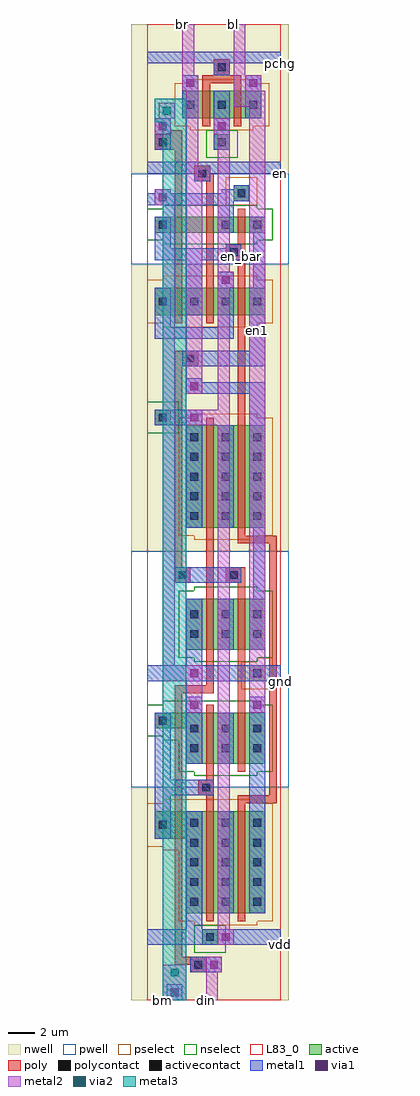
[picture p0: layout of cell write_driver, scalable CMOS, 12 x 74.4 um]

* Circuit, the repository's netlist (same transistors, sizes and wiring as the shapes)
.SUBCKT write_driver din bm bl br en pchg vdd gnd
M1 din_bar din gnd gnd n w=1.2u l=0.6u
M2 din_bar din vdd vdd p w=2.1u l=0.6u
M3 en_bar bm net_5 gnd n w=1.2u l=0.6u 
M4 net_5 en gnd gnd n w=1.2u l=0.6u
M5 en_bar bm vdd vdd p w=2.1u l=0.6u 
M6 en_bar en vdd vdd p w=2.1u l=0.6u
M7 en1 en_bar gnd gnd n w=1.2u l=0.6u 
M8 en1 en_bar vdd vdd p w=2.1u l=0.6u 
M9 vdd din net_1 vdd p w=7.8u l=0.6u 
M10 net_1 en_bar br vdd p w=7.8u l=0.6u  
M11 br en1 net_2 gnd n w=3.9u l=0.6u 
M12 net_2 din gnd gnd n w=3.9u l=0.6u 
M13 vdd din_bar net_3 vdd p w=7.8u l=0.6u
M14 net_3 en_bar bl vdd p w=7.8u l=0.6u  
M15 bl en1 net_4 gnd n w=3.9u l=0.6u
M16 net_4 din_bar gnd gnd n w=3.9u l=0.6u 
M17 bl pchg vdd vdd p w=2.1u l=0.6u
M18 br pchg vdd vdd p w=2.1u l=0.6u 
.ENDS	write_driver

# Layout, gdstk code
import gdstk
lib = gdstk.Library(unit=1e-6, precision=1e-09)
def R(c, l, rs):  # rectangles x0, y0, x1, y1
    for r in rs: c.add(gdstk.rectangle(r[:2], r[2:], *l))
def A(c, l, x, y, w, h, nx, ny, dx, dy):  # array of equal rectangles
    R(c, l, [(x+i*dx, y+j*dy, x+i*dx+w, y+j*dy+h) for i in range(nx) for j in range(ny)])
pwell = (41, 0)
nwell = (42, 0)
active = (43, 0)
pselect = (44, 0)
nselect = (45, 0)
poly = (46, 0)
polycontact = (47, 0)
activecontact = (48, 0)
metal1 = (49, 0)
via1 = (50, 0)
metal2 = (51, 0)
via2 = (61, 0)
metal3 = (62, 0)
L83_0 = (83, 0)

write_driver = lib.new_cell('write_driver')
R(write_driver, pwell, [(-1.2,16.2,10.8,34.2), (-1.2,56.1,10.8,63)])
R(write_driver, nwell, [(-1.2,0,10.8,16.2), (-1.2,34.2,10.8,56.1), (-1.2,63,10.8,74.4)])
R(write_driver, active, [(4.2,4.2,5.4,5.4), (3,6.6,9,12.3), (0.6,12.3,9,14.4), (3,18,9,20.7), (0.6,20.7,9,21.9), (7.8,24.3,9,25.5), (3,26.7,9,30.6), (3,36,9,43.8), (0.6,43.8,1.8,45), (0.6,52.2,9,54.3), (0.6,58.5,9,59.7), (6.6,60.9,7.8,62.1), (5.1,64.8,6.3,66), (2.7,67.2,8.7,69.3)])
R(write_driver, pselect, [(3.6,5.7,8.4,6), (2.4,6,9.6,11.4), (1.2,11.4,9.6,11.7), (0,11.7,9.6,15), (1.2,15,8.4,15.3), (7.2,23.7,9.6,25.8), (8.4,25.8,9.6,26.1), (3.6,35.1,8.4,35.4), (2.4,35.4,9.6,44.4), (3.6,44.4,8.4,44.7), (1.2,51.3,8.4,51.6), (0,51.6,9.6,54.9), (1.2,54.9,8.4,55.2), (6,60.6,8.4,62.7), (3.3,66.3,8.1,66.6), (2.1,66.6,9.3,69.9), (3.3,69.9,8.1,70.2)])
R(write_driver, nselect, [(3.6,3.6,6,5.7), (3.6,17.1,8.4,17.4), (2.4,17.4,9.6,19.8), (1.2,19.8,9.6,20.1), (0,20.1,9.6,22.5), (1.2,22.5,8.4,22.8), (3.6,25.8,8.4,26.1), (2.4,26.1,9.6,31.2), (3.6,31.2,8.4,31.5), (0,43.2,2.4,45.6), (1.2,57.6,8.4,57.9), (0,57.9,9.6,60.3), (1.2,60.3,8.4,60.6), (4.5,64.2,6.9,66.3)])
R(write_driver, poly, [(3.3,2.1,4.5,2.7), (2.1,2.7,4.5,3.3), (2.1,3.3,2.7,23.4), (4.5,6,5.1,15.6), (6.9,6,7.5,15), (6.9,15,9.9,15.6), (3.9,15.6,5.1,16.8), (9.3,15.6,9.9,34.8), (4.5,16.8,5.1,22.5), (6.9,17.4,7.5,31.8), (2.1,23.4,5.1,24), (4.5,24,5.1,44.4), (2.1,31.8,3.3,33), (6,31.8,7.5,33), (2.1,33,2.7,48.3), (6.9,34.8,9.9,35.4), (6.9,35.4,7.5,56.4), (2.1,48.3,3.9,49.5), (2.1,51.6,2.7,64.8), (4.5,51.6,5.1,62.4), (6,56.4,7.5,57.6), (6.9,57.6,7.5,60.3), (3.6,62.4,5.1,63), (3.6,63,4.8,63.6), (0.6,64.8,2.7,66), (1.8,66,2.7,66.3), (4.2,66.6,4.8,69.9), (6.6,66.6,7.2,69.9), (4.2,69.9,7.2,70.5), (5.1,70.5,6.3,71.7)])
R(write_driver, polycontact, [(3.6,2.4,4.2,3), (4.2,15.9,4.8,16.5), (2.4,32.1,3,32.7), (6.3,32.1,6.9,32.7), (3,48.6,3.6,49.2), (6.3,56.7,6.9,57.3), (3.9,62.7,4.5,63.3), (0.9,65.1,1.5,65.7), (5.4,70.8,6,71.4)])
A(write_driver, activecontact, 3.3, 7.2, 0.6, 0.6, 3, 5, 2.4, 1.5)
A(write_driver, activecontact, 3.3, 18.9, 0.6, 0.6, 3, 2, 2.4, 1.5)
A(write_driver, activecontact, 3.3, 27.6, 0.6, 0.6, 3, 2, 2.4, 1.5)
A(write_driver, activecontact, 3.3, 36.6, 0.6, 0.6, 3, 5, 2.4, 1.5)
A(write_driver, activecontact, 0.9, 52.95, 0.6, 0.6, 4, 1, 2.4, 0)
A(write_driver, activecontact, 3, 67.95, 0.6, 0.6, 3, 1, 2.4, 0)
R(write_driver, activecontact, [(4.5,4.5,5.1,5.1), (0.9,13.05,1.5,13.65), (0.9,21,1.5,21.6), (8.1,24.6,8.7,25.2), (0.9,44.1,1.5,44.7), (0.9,58.8,1.5,59.4), (5.7,58.8,6.3,59.4), (8.1,58.8,8.7,59.4), (6.9,61.2,7.5,61.8), (5.4,65.1,6,65.7)])
R(write_driver, metal1, [(1.5,0,2.7,1.2), (3.3,2.1,5.7,3.3), (0,4.2,10.2,5.4), (3,5.4,4.2,14.4), (5.4,6.6,6.6,14.4), (7.8,6.6,9,23.1), (0.6,12.3,1.8,15.6), (0.6,15.6,5.1,16.8), (0.6,16.8,1.8,21.9), (3,18,4.2,23.1), (5.4,18,6.6,21.9), (0,24.3,10.2,25.5), (3,25.5,4.2,30.6), (5.4,26.7,6.6,30.6), (7.8,26.7,9,30.6), (8.1,30.6,9,36), (2.1,31.8,7.2,33), (3,36,4.2,43.8), (5.4,36,6.6,43.8), (7.8,36,9,46.2), (0.6,43.8,4.2,45), (3,46.2,9,47.1), (3,47.1,4.2,47.4), (2.7,48.3,9,49.5), (7.8,49.5,9,54.3), (0.6,50.4,6.6,51.3), (0.6,51.3,1.8,54.3), (5.4,51.3,6.6,55.5), (3,52.2,4.2,56.4), (8.1,54.3,9,58.5), (0.6,56.4,7.2,57.3), (0.6,57.3,1.8,59.7), (6,57.3,7.2,57.6), (5.4,58.5,6.6,60.6), (7.8,58.5,9,59.7), (0,60.6,6.6,60.9), (0,60.9,7.8,61.5), (0.6,61.5,1.8,61.8), (5.7,61.5,7.8,61.8), (6.6,61.8,7.8,62.1), (3.6,62.4,4.8,63), (0,63,10.2,63.9), (0.6,64.8,1.8,67.2), (5.1,64.8,6.3,69.3), (2.7,67.2,3.9,70.5), (7.5,67.2,8.7,70.5), (5.1,70.5,6.3,71.4), (0,71.4,10.2,72.3)])
R(write_driver, via1, [(1.8,0.3,2.4,0.9), (4.8,2.4,5.4,3), (5.7,4.5,6.3,5.1), (3.3,22.2,3.9,22.8), (8.1,22.2,8.7,22.8), (3.3,24.6,3.9,25.2), (3.3,44.1,3.9,44.7), (3.3,46.5,3.9,47.1), (5.7,54.6,6.3,55.2), (0.9,60.9,1.5,61.5), (0.9,66.3,1.5,66.9), (5.4,66.3,6,66.9), (3,69.6,3.6,70.2), (7.8,69.6,8.4,70.2)])
R(write_driver, metal2, [(1.2,0,3,2.7), (4.5,0,5.4,2.1), (4.5,2.1,5.7,3.3), (5.4,4.2,6.6,5.4), (5.4,5.4,6.3,43.8), (3,21.9,4.2,24.3), (7.8,21.9,9,68.1), (1.2,24.3,4.2,25.5), (1.2,25.5,2.1,60.6), (3,43.8,6.3,45), (5.4,45,6.3,54.3), (3,46.2,4.2,63.3), (5.4,54.3,6.6,55.5), (5.4,55.5,6.3,66), (0.6,60.6,2.1,61.5), (0.6,61.5,1.8,61.8), (3,63.3,3.9,69.3), (0.6,66,1.8,67.2), (5.1,66,6.3,67.2), (0.9,67.2,2.1,68.4), (6.6,68.1,9,69.3), (2.7,69.3,3.9,70.5), (6.6,69.3,8.7,70.5), (2.7,70.5,3.6,74.4), (6.6,70.5,7.5,74.4)])
R(write_driver, via2, [(1.8,1.8,2.4,2.4), (1.2,67.5,1.8,68.1)])
R(write_driver, metal3, [(1.2,0,3,66.9), (0.6,66.9,3,68.7)])
R(write_driver, L83_0, [(0,0,10.2,74.4)])
write_driver.add(gdstk.Label('vdd', (10.2,4.2), layer=49, texttype=0))
write_driver.add(gdstk.Label('gnd', (10.2,24.3), layer=49, texttype=0))
write_driver.add(gdstk.Label('en', (10.2,63), layer=49, texttype=0))
write_driver.add(gdstk.Label('pchg', (10.2,71.4), layer=49, texttype=0))
write_driver.add(gdstk.Label('en1', (8.4,51), layer=51, texttype=0))
write_driver.add(gdstk.Label('en_bar', (7.2,56.7), layer=49, texttype=0))
write_driver.add(gdstk.Label('br', (2.7,74.4), layer=51, texttype=0))
write_driver.add(gdstk.Label('bl', (6.6,74.4), layer=51, texttype=0))
write_driver.add(gdstk.Label('din', (4.5,0), layer=51, texttype=0))
write_driver.add(gdstk.Label('bm', (1.2,0), layer=62, texttype=0))

lib.write_gds('write_driver.gds')
